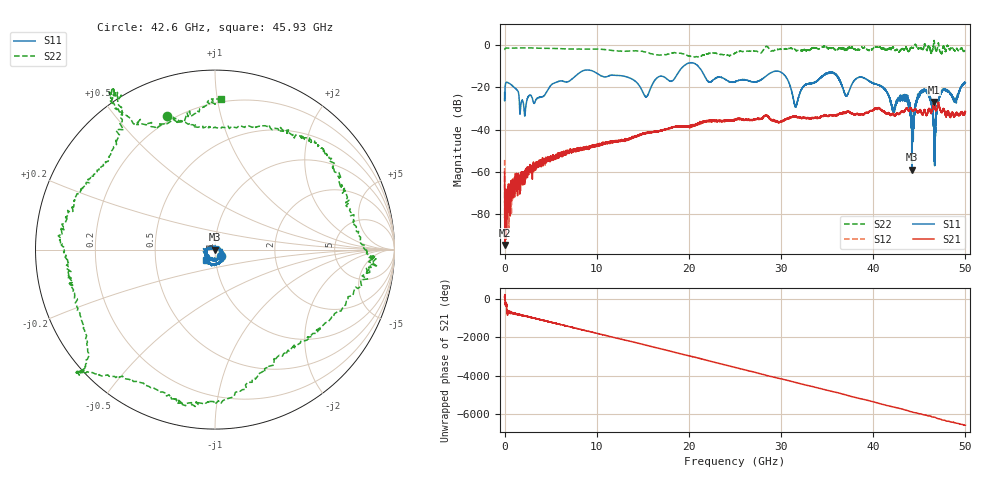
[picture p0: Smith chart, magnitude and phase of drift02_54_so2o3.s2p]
!Created with skrf (http://scikit-rf.org).
# Hz S RI R 50.0
!freq ReS11 ImS11 ReS21 ImS21 ReS12 ImS12 ReS22 ImS22
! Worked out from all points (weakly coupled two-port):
!   10001 points, 300 kHz to 50 GHz, reference 50 ohm
!   highest |S21| = -26.87 dB at 46.6 GHz (marker M1); lowest = -94.5 dB at 40.3 MHz (marker M2)
!   lowest |S11| = -58.9 dB at 44.18 GHz (marker M3), VSWR 1.00, Z = 49.9 - j0.000161 ohm
!   |S11| at or under -10 dB: start of sweep to 19.42 GHz; 21.01 GHz to end of sweep
!   |S22| runs from -5.7 to 2.2 dB; largest |S21 - S12| = 0.0036
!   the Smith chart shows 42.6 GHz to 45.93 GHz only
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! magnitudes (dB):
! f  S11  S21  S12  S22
! 300 kHz  -22.6  -60.1  -54.3  -2.0
! 40.3 MHz  -21.2  -94.5  -72.6  -1.7
! 255.3 MHz  -17.6  -82.1  -78.1  -1.4
! 2.19 GHz  -33.6  -59.6  -60.8  -1.3
! 8.335 GHz  -12.5  -49.3  -49.4  -1.9
! 15.34 GHz  -24.5  -41.5  -41.5  -3.3
! 16.67 GHz  -15.1  -40.8  -40.8  -4.7
! 20.3 GHz  -8.4  -38.1  -38.3  -5.5
! 25 GHz  -17.4  -35.4  -35.4  -3.9
! 29.84 GHz  -12.6  -36.5  -36.4  -2.0
! 31.59 GHz  -29.2  -33.8  -34.1  -2.4
! 33.34 GHz  -18.0  -34.5  -34.5  -1.6
! 35.61 GHz  -12.9  -33.2  -33.1  -1.6
! 37.1 GHz  -24.1  -31.8  -31.6  -2.2
! 38.75 GHz  -15.2  -32.7  -32.5  -1.0
! 41.67 GHz  -23.8  -32.1  -32.1  -2.0
! 43.56 GHz  -26.4  -30.4  -30.1  -1.2
! 44.18 GHz  -58.9  -30.6  -30.6  -1.2
! 45.61 GHz  -21.5  -31.0  -31.1  0.3
! 46.6 GHz  -39.8  -26.9  -26.8  1.9
! 47.49 GHz  -21.6  -31.4  -31.4  -3.2
! 50 GHz  -17.9  -31.6  -31.5  -2.6
